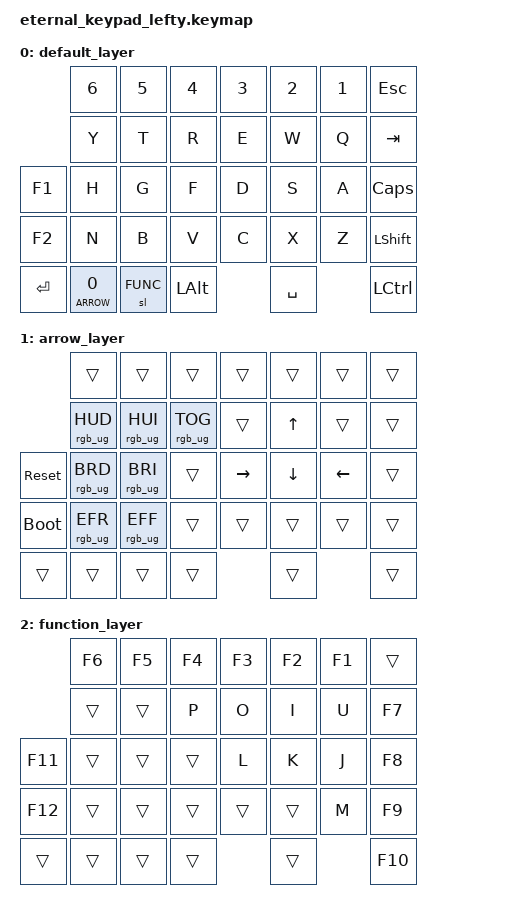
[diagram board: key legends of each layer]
/*
 * Copyright (c) 2022 The ZMK Contributors
 *
 * SPDX-License-Identifier: MIT
 */

#include <behaviors.dtsi>
#include <dt-bindings/zmk/keys.h>
#include <dt-bindings/zmk/bt.h>
#include <dt-bindings/zmk/outputs.h>
#include <dt-bindings/zmk/rgb.h>

#define BASE        0
#define ARROW       1
#define FUNC        2

/ {
  chosen {
      zmk,kscan = &kscan0;
      zmk,matrix_transform = &default_transform;
  };

  keymap {
    compatible = "zmk,keymap";

    default_layer {
      bindings = <
                   &kp N6       &kp N5    &kp N4    &kp N3    &kp N2    &kp N1  &kp ESC
                   &kp Y        &kp T     &kp R     &kp E     &kp W     &kp Q   &kp TAB
        &kp F1     &kp H        &kp G     &kp F     &kp D     &kp S     &kp A   &kp CAPS
        &kp F2     &kp N        &kp B     &kp V     &kp C     &kp X     &kp Z   &kp LSHFT
        &kp ENTER  &lt ARROW 0  &sl FUNC  &kp LALT            &kp SPACE         &kp LCTRL
      >;
    };

    arrow_layer {
      bindings = <
                     &trans           &trans            &trans           &trans     &trans     &trans     &trans
                     &rgb_ug RGB_HUD  &rgb_ug RGB_HUI   &rgb_ug RGB_TOG  &trans     &kp UP     &trans     &trans
        &sys_reset   &rgb_ug RGB_BRD  &rgb_ug RGB_BRI   &trans           &kp RIGHT  &kp DOWN   &kp LEFT   &trans
        &bootloader  &rgb_ug RGB_EFR  &rgb_ug RGB_EFF   &trans           &trans     &trans     &trans     &trans           
        &trans       &trans           &trans            &trans                      &trans                &trans
      >;
    };

    function_layer {
      bindings = <
                 &kp F6    &kp F5    &kp F4   &kp F3    &kp F2   &kp F1  &trans
                 &trans    &trans    &kp P    &kp O     &kp I    &kp U   &kp F7
        &kp F11  &trans    &trans    &trans   &kp L     &kp K    &kp J   &kp F8
        &kp F12  &trans    &trans    &trans   &trans    &trans   &kp M   &kp F9
        &trans   &trans    &trans    &trans             &trans           &kp F10
      >;
    };
  };
};
